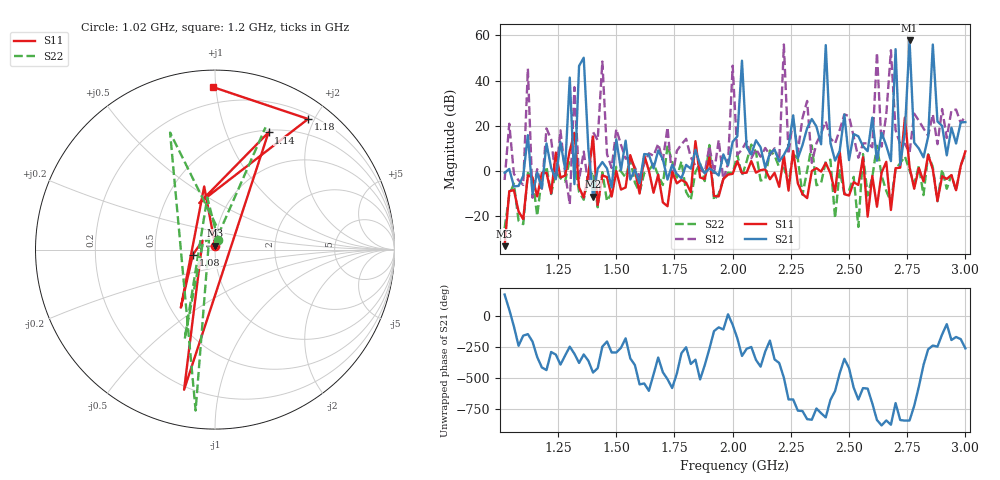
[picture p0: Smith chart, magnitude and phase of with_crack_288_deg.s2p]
# MHz S MA R 50
!  freq  S11  S21  S12  S22
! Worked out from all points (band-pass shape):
!   100 points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, 1.02 GHz to 3 GHz, reference 50 ohm
!   highest |S21| = 57.79 dB at 2.76 GHz (marker M1); lowest = -11.4 dB at 1.4 GHz (marker M2)
!   |S21| within 3 dB of the highest: 2.399573 GHz to 2.400434 GHz (861.1 kHz wide, 0.0359 % of centre); 2.758514 GHz to 2.761326 GHz (2.811 MHz wide, 0.102 % of centre) (the widest 2 of 3)
!   lowest |S11| = -33.3 dB at 1.02 GHz (marker M3), VSWR 1.04, Z = 50.1 + j2.16 ohm
!   |S11| at or under -10 dB: 1.063 GHz to 1.112 GHz (48.54 MHz wide, 4.46 % of centre); 1.694 GHz to 1.727 GHz (33.77 MHz wide, 1.97 % of centre); 1.919 GHz to 1.943 GHz (24.51 MHz wide, 1.27 % of centre) (the widest 3 of 14)
!   |S22| runs from -25.3 to 11.7 dB; largest |S21 - S12| = 7.7e+02
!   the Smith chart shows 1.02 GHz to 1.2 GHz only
!   S11 on the Smith chart (normalised r, x): 1.02 GHz: 1.00, +0.04; 1.08 GHz: 0.78, -0.05; 1.14 GHz: 0.53, +1.42; 1.18 GHz: 0.26, +1.91; 1.2 GHz: 0.10, +0.98
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1020  0.0216 87.2  0.9052 174.2  0.6307 -172.2  0.05422 71.0
1080  0.127 -166.8  0.4649 120.7  0.6175 83.4  0.07795 148.9
1140  0.7178 65.5  0.3065 154.3  0.2545 89.6  0.6984 111.0
1180  0.8937 54.5  0.4154 -53.9  0.4029 54.3  0.7372 67.6
1200  0.9061 90.8  4.07 -75.5  8.735 123.9  1.248 90.2
1360  0.2566 -112.9  321.2 50.7  2.683 -43.6  0.2307 -93.7
1400  5.776 169.2  0.2678 -95.6  7.262 28.9  0.9517 -107.2
1680  0.8209 102.7  2.826 25.9  3.998 -66.0  0.8078 102.2
2020  1.65 -111.9  5.821 -178.8  2.281 -21.9  2.296 -109.9
2200  0.4461 55.8  1.633 -18.3  1.677 -162.5  1.191 -122.4
2220  2.201 -92.2  2.274 -137.0  630.3 -91.5  1.179 -120.5
2240  0.367 -121.8  3.524 47.5  2.366 -140.8  0.5408 -89.2
2340  0.9984 78.5  14.13 -116.6  1.51 -83.8  3.674 17.1
2400  1.51 54.7  611.3 -97.7  12.5 3.9  1.611 57.3
2420  0.8847 60.8  4.189 43.7  5.292 -119.4  1.775 66.8
2660  1.597 -74.9  3.636 -122.2  17.48 -83.7  0.3615 -15.2
2680  0.1366 -65.0  1.652 -156.7  472.2 97.6  0.2073 4.4
2700  1.151 86.1  496.5 17.9  8.021 138.2  1.078 61.9
2760  1.229 176.7  775.1 -122.9  2.482 -123.5  1.025 -179.1
2860  1.086 130.2  629.2 122.4  18.03 -128.8  1.219 118.0
2880  0.2166 72.3  12.48 113.8  3.912 -123.4  0.2127 51.8
3000  2.714 -78.4  12.08 99.5  16.69 104.4  2.383 -79.1
